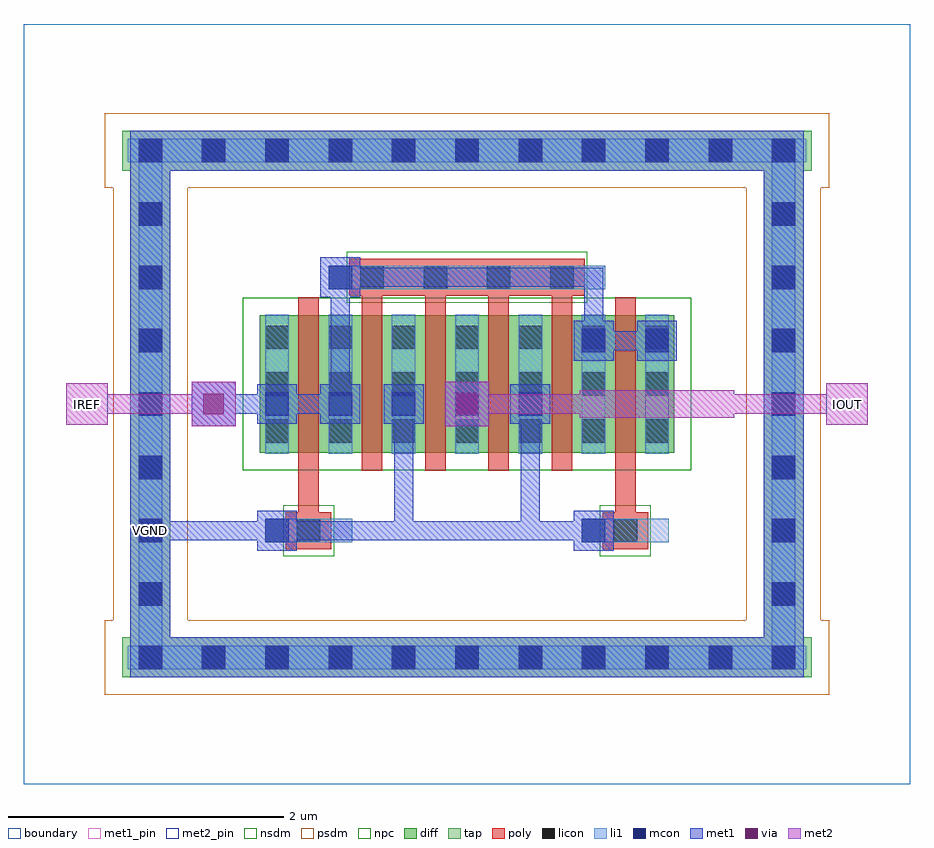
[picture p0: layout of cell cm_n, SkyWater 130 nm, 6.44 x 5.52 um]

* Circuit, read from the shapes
.subckt cm_n IOUT IREF VGND
XM1 IREF VGND IREF VGND sky130_fd_pr__nfet_01v8 w=1 l=0.15 m=2
XM2 VGND IREF IREF VGND sky130_fd_pr__nfet_01v8 w=1 l=0.15 m=2
XM3 IOUT IREF VGND VGND sky130_fd_pr__nfet_01v8 w=1 l=0.15 m=2
.ends

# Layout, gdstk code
import gdstk
lib = gdstk.Library(unit=1e-6, precision=1e-09)
def R(c, l, rs):  # rectangles x0, y0, x1, y1
    for r in rs: c.add(gdstk.rectangle(r[:2], r[2:], *l))
def A(c, l, x, y, w, h, nx, ny, dx, dy):  # array of equal rectangles
    R(c, l, [(x+i*dx, y+j*dy, x+i*dx+w, y+j*dy+h) for i in range(nx) for j in range(ny)])
diff = (65, 20)
tap = (65, 44)
poly = (66, 20)
licon = (66, 44)
li1 = (67, 20)
mcon = (67, 44)
met1_pin = (68, 16)
met1 = (68, 20)
via = (68, 44)
met2_pin = (69, 16)
met2 = (69, 20)
nsdm = (93, 44)
psdm = (94, 20)
npc = (95, 20)
boundary = (235, 4)

cm_n = lib.new_cell('cm_n')
R(cm_n, diff, [(1.715,2.405,4.725,3.405)])
R(cm_n, tap, [(0.715,0.775,5.725,1.065), (0.775,0.775,1.065,4.745), (5.375,0.775,5.665,4.745), (0.715,4.455,5.725,4.745)])
A(cm_n, poly, 2.455, 2.275, 0.15, 1.405, 4, 1, 0.46, 0)
R(cm_n, poly, [(1.905,1.705,2.235,1.975), (4.205,1.705,4.535,1.975), (1.995,1.84,2.145,3.535), (4.295,1.84,4.445,3.535), (2.365,3.545,4.075,3.815)])
A(cm_n, licon, 0.835, 0.835, 0.17, 0.17, 11, 2, 0.46, 3.68)
A(cm_n, licon, 0.835, 1.295, 0.17, 0.17, 1, 7, 0, 0.46)
A(cm_n, licon, 5.435, 1.295, 0.17, 0.17, 1, 7, 0, 0.46)
A(cm_n, licon, 1.755, 2.48, 0.17, 0.17, 7, 3, 0.46, 0.34)
A(cm_n, licon, 2.445, 3.595, 0.17, 0.17, 4, 1, 0.46, 0)
R(cm_n, licon, [(1.985,1.755,2.155,1.925), (4.285,1.755,4.455,1.925)])
A(cm_n, li1, 1.755, 2.4, 0.17, 1.01, 7, 1, 0.46, 0)
R(cm_n, li1, [(0.755,0.835,5.685,1.005), (0.835,0.835,1.005,4.685), (5.435,0.835,5.605,4.685), (1.755,1.755,2.385,1.925), (4.055,1.755,4.685,1.925), (2.215,3.595,4.225,3.765), (0.755,4.515,5.685,4.685)])
A(cm_n, mcon, 0.835, 0.835, 0.17, 0.17, 11, 2, 0.46, 3.68)
A(cm_n, mcon, 0.835, 1.295, 0.17, 0.17, 1, 7, 0, 0.46)
A(cm_n, mcon, 5.435, 1.295, 0.17, 0.17, 1, 7, 0, 0.46)
A(cm_n, mcon, 1.755, 2.675, 0.17, 0.17, 5, 1, 0.46, 0)
R(cm_n, mcon, [(1.755,1.755,1.925,1.925), (4.055,1.755,4.225,1.925), (4.055,3.135,4.225,3.305), (4.515,3.135,4.685,3.305), (2.215,3.595,2.385,3.765)])
R(cm_n, met1_pin, [(0.85,1.77,0.99,1.91)])
A(cm_n, met1, 1.695, 2.615, 0.29, 0.29, 5, 1, 0.46, 0)
R(cm_n, met1, [(0.775,0.775,5.665,1.065), (0.775,0.775,1.065,4.745), (5.375,0.775,5.665,4.745), (1.695,1.695,1.985,1.985), (3.995,1.695,4.285,1.985), (0.85,1.77,0.99,1.91), (0.85,1.77,1.91,1.91), (0.85,1.77,0.99,4.67), (1.77,1.77,2.83,1.91), (2.69,1.77,2.83,2.83), (2.69,1.77,4.21,1.91), (3.61,1.77,3.75,2.83), (1.22,2.6,1.54,2.92), (3.06,2.6,3.38,2.92), (1.31,2.69,1.91,2.83), (1.77,2.69,2.37,2.83), (2.23,2.69,2.37,3.75), (3.995,3.075,4.285,3.365), (4.455,3.075,4.745,3.365), (4.07,3.15,4.67,3.29), (4.07,3.15,4.21,3.75), (2.155,3.535,2.445,3.825), (2.23,3.61,4.21,3.75), (0.775,4.455,5.665,4.745), (0.85,4.53,0.99,4.67)])
R(cm_n, via, [(1.305,2.685,1.455,2.835), (3.145,2.685,3.295,2.835)])
R(cm_n, met2_pin, [(0.31,2.61,0.61,2.91), (5.83,2.61,6.13,2.91)])
R(cm_n, met2, [(1.22,2.6,1.54,2.92), (3.06,2.6,3.38,2.92), (0.31,2.61,0.61,2.91), (5.83,2.61,6.13,2.91), (4.04,2.66,5.16,2.86), (0.39,2.69,0.53,2.83), (0.39,2.69,1.45,2.83), (3.15,2.69,4.21,2.83), (4.99,2.69,6.05,2.83), (5.91,2.69,6.05,2.83)])
R(cm_n, nsdm, [(1.59,2.28,4.85,3.53)])
R(cm_n, psdm, [(0.59,0.65,5.85,1.19), (0.65,1.19,1.19,4.33), (5.25,1.19,5.79,4.33), (0.59,4.33,5.85,4.87)])
R(cm_n, npc, [(1.885,1.655,2.255,2.025), (4.185,1.655,4.555,2.025), (2.345,3.495,4.095,3.865)])
R(cm_n, boundary, [(0,0,6.44,5.52)])
cm_n.add(gdstk.Label('VGND', (0.92,1.84), layer=68, texttype=5))
cm_n.add(gdstk.Label('IREF', (0.46,2.76), layer=69, texttype=5))
cm_n.add(gdstk.Label('IOUT', (5.98,2.76), layer=69, texttype=5))
cm_n.add(gdstk.Label('VGND', (0.92,1.84), layer=68, texttype=16))
cm_n.add(gdstk.Label('IREF', (0.46,2.76), layer=69, texttype=16))
cm_n.add(gdstk.Label('IOUT', (5.98,2.76), layer=69, texttype=16))

lib.write_gds('cm_n.gds')
